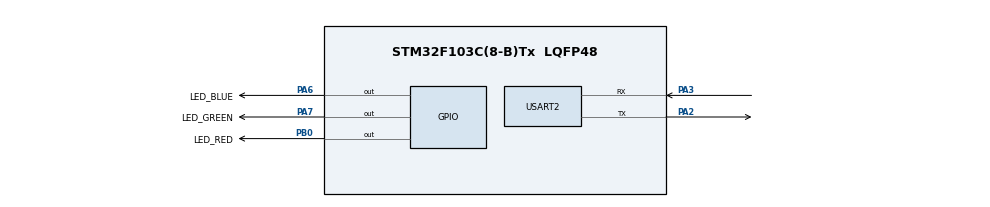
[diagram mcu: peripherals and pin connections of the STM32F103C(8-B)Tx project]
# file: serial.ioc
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Dma.Request0=USART2_TX
Dma.Request1=USART2_RX
Dma.USART2_RX.1.Direction=DMA_PERIPH_TO_MEMORY
Dma.USART2_RX.1.Instance=DMA1_Channel6
Dma.USART2_RX.1.MemDataAlignment=DMA_MDATAALIGN_BYTE
Dma.USART2_RX.1.MemInc=DMA_MINC_ENABLE
Dma.USART2_RX.1.Mode=DMA_NORMAL
Dma.USART2_RX.1.PeriphDataAlignment=DMA_PDATAALIGN_BYTE
Dma.USART2_RX.1.PeriphInc=DMA_PINC_DISABLE
Dma.USART2_RX.1.Priority=DMA_PRIORITY_LOW
Dma.USART2_TX.0.Direction=DMA_MEMORY_TO_PERIPH
Dma.USART2_TX.0.Instance=DMA1_Channel7
Dma.USART2_TX.0.MemDataAlignment=DMA_MDATAALIGN_BYTE
Dma.USART2_TX.0.MemInc=DMA_MINC_ENABLE
Dma.USART2_TX.0.Mode=DMA_NORMAL
Dma.USART2_TX.0.PeriphDataAlignment=DMA_PDATAALIGN_BYTE
Dma.USART2_TX.0.PeriphInc=DMA_PINC_DISABLE
Dma.USART2_TX.0.Priority=DMA_PRIORITY_LOW
Mcu.Family=STM32F1
Mcu.Name=STM32F103C(8-B)Tx
Mcu.Package=LQFP48
NVIC.DMA1_Channel6_IRQn=true\:0\:0\:false\:false\:true\:false\:true\:true
NVIC.DMA1_Channel7_IRQn=true\:0\:0\:false\:false\:true\:false\:true\:true
NVIC.PriorityGroup=NVIC_PRIORITYGROUP_4
NVIC.USART2_IRQn=true\:0\:0\:false\:false\:true\:true\:true\:true
PA13.Mode=Serial_Wire
PA13.Signal=SYS_JTMS-SWDIO
PA14.Mode=Serial_Wire
PA14.Signal=SYS_JTCK-SWCLK
PA2.Mode=Asynchronous
PA2.Signal=USART2_TX
PA3.Mode=Asynchronous
PA3.Signal=USART2_RX
PA6.GPIO_Label=LED_BLUE
PA6.Signal=GPIO_Output
PA7.GPIO_Label=LED_GREEN
PA7.Signal=GPIO_Output
PB0.GPIO_Label=LED_RED
PB0.Signal=GPIO_Output
ProjectManager.HeapSize=0x200
ProjectManager.StackSize=0x400
ProjectManager.TargetToolchain=STM32CubeIDE
RCC.APB1Freq_Value=8000000
RCC.APB2Freq_Value=8000000
USART2.VirtualMode=VM_ASYNC
board=custom

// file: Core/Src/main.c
/* USER CODE BEGIN Header */
/**
  ******************************************************************************
  * @file           : main.c
  * @brief          : Main program body
  ******************************************************************************
  * @attention
  *
  * Copyright (c) 2026 STMicroelectronics.
  * All rights reserved.
  *
  * This software is licensed under terms that can be found in the LICENSE file
  * in the root directory of this software component.
  * If no LICENSE file comes with this software, it is provided AS-IS.
  *
  ******************************************************************************
  */
/* USER CODE END Header */
#include "main.h"

/* USER CODE BEGIN Includes */
#include <string.h>
/* USER CODE END Includes */

UART_HandleTypeDef huart2;
DMA_HandleTypeDef hdma_usart2_tx;
DMA_HandleTypeDef hdma_usart2_rx;

/* USER CODE BEGIN PV */
uint8_t receiveData[2];
//	char message[] = "Hello World";
/* USER CODE END PV */

void SystemClock_Config(void);
static void MX_GPIO_Init(void);
static void MX_DMA_Init(void);
static void MX_USART2_UART_Init(void);

/* USER CODE BEGIN 0 */
void HAL_UART_RxCpltCallback(UART_HandleTypeDef *huart){
	//	HAL_UART_Transmit(&huart2, (uint8_t*)message, strlen(message), 100);
		  //	HAL_Delay(1000);
	//	  	HAL_UART_Receive(&huart2, receiveData, 2, HAL_MAX_DELAY);
	//	  	HAL_UART_Transmit(&huart2, receiveData, 2, 1000);
		  	HAL_UART_Transmit_DMA(&huart2, receiveData, 2);
		  	GPIO_PinState state = GPIO_PIN_SET;
		  	if(receiveData[1] == '0'){
		  		state = GPIO_PIN_RESET;
		  	}
		  	if(receiveData[0] == 'R'){
		  		HAL_GPIO_WritePin(LED_RED_GPIO_Port, LED_RED_Pin, state);
		  	}else if(receiveData[0] == 'G'){
		  		HAL_GPIO_WritePin(LED_GREEN_GPIO_Port, LED_GREEN_Pin, state);
		  	}else if(receiveData[0] == 'B'){
		  		HAL_GPIO_WritePin(LED_BLUE_GPIO_Port, LED_BLUE_Pin, state);
		  	}
		  	HAL_UART_Receive_DMA(&huart2, receiveData, 2);
}
/* USER CODE END 0 */

int main(void)
{

  /* MCU Configuration--------------------------------------------------------*/

  /* Reset of all peripherals, Initializes the Flash interface and the Systick. */
  HAL_Init();

  /* Configure the system clock */
  SystemClock_Config();

  /* Initialize all configured peripherals */
  MX_GPIO_Init();
  MX_DMA_Init();
  MX_USART2_UART_Init();
  /* USER CODE BEGIN 2 */

  HAL_UART_Receive_DMA(&huart2, receiveData, 2);

  /* USER CODE END 2 */

  /* Infinite loop */
  while (1)
  {

  }
}

void SystemClock_Config(void)
{
  RCC_OscInitTypeDef RCC_OscInitStruct = {0};
  RCC_ClkInitTypeDef RCC_ClkInitStruct = {0};

  /** Initializes the RCC Oscillators according to the specified parameters
  * in the RCC_OscInitTypeDef structure.
  */
  RCC_OscInitStruct.OscillatorType = RCC_OSCILLATORTYPE_HSI;
  RCC_OscInitStruct.HSIState = RCC_HSI_ON;
  RCC_OscInitStruct.HSICalibrationValue = RCC_HSICALIBRATION_DEFAULT;
  RCC_OscInitStruct.PLL.PLLState = RCC_PLL_NONE;
  if (HAL_RCC_OscConfig(&RCC_OscInitStruct) != HAL_OK)
  {
    Error_Handler();
  }

  /** Initializes the CPU, AHB and APB buses clocks
  */
  RCC_ClkInitStruct.ClockType = RCC_CLOCKTYPE_HCLK|RCC_CLOCKTYPE_SYSCLK
                              |RCC_CLOCKTYPE_PCLK1|RCC_CLOCKTYPE_PCLK2;
  RCC_ClkInitStruct.SYSCLKSource = RCC_SYSCLKSOURCE_HSI;
  RCC_ClkInitStruct.AHBCLKDivider = RCC_SYSCLK_DIV1;
  RCC_ClkInitStruct.APB1CLKDivider = RCC_HCLK_DIV1;
  RCC_ClkInitStruct.APB2CLKDivider = RCC_HCLK_DIV1;

  if (HAL_RCC_ClockConfig(&RCC_ClkInitStruct, FLASH_LATENCY_0) != HAL_OK)
  {
    Error_Handler();
  }
}

static void MX_USART2_UART_Init(void)
{

  huart2.Instance = USART2;
  huart2.Init.BaudRate = 115200;
  huart2.Init.WordLength = UART_WORDLENGTH_8B;
  huart2.Init.StopBits = UART_STOPBITS_1;
  huart2.Init.Parity = UART_PARITY_NONE;
  huart2.Init.Mode = UART_MODE_TX_RX;
  huart2.Init.HwFlowCtl = UART_HWCONTROL_NONE;
  huart2.Init.OverSampling = UART_OVERSAMPLING_16;
  if (HAL_UART_Init(&huart2) != HAL_OK)
  {
    Error_Handler();
  }

}

static void MX_DMA_Init(void)
{

  /* DMA controller clock enable */
  __HAL_RCC_DMA1_CLK_ENABLE();

  /* DMA interrupt init */
  /* DMA1_Channel6_IRQn interrupt configuration */
  HAL_NVIC_SetPriority(DMA1_Channel6_IRQn, 0, 0);
  HAL_NVIC_EnableIRQ(DMA1_Channel6_IRQn);
  /* DMA1_Channel7_IRQn interrupt configuration */
  HAL_NVIC_SetPriority(DMA1_Channel7_IRQn, 0, 0);
  HAL_NVIC_EnableIRQ(DMA1_Channel7_IRQn);

}

static void MX_GPIO_Init(void)
{
  GPIO_InitTypeDef GPIO_InitStruct = {0};

  /* GPIO Ports Clock Enable */
  __HAL_RCC_GPIOA_CLK_ENABLE();
  __HAL_RCC_GPIOB_CLK_ENABLE();

  /*Configure GPIO pin Output Level */
  HAL_GPIO_WritePin(GPIOA, LED_BLUE_Pin|LED_GREEN_Pin, GPIO_PIN_RESET);

  /*Configure GPIO pin Output Level */
  HAL_GPIO_WritePin(LED_RED_GPIO_Port, LED_RED_Pin, GPIO_PIN_RESET);

  /*Configure GPIO pins : LED_BLUE_Pin LED_GREEN_Pin */
  GPIO_InitStruct.Pin = LED_BLUE_Pin|LED_GREEN_Pin;
  GPIO_InitStruct.Mode = GPIO_MODE_OUTPUT_PP;
  GPIO_InitStruct.Pull = GPIO_NOPULL;
  GPIO_InitStruct.Speed = GPIO_SPEED_FREQ_LOW;
  HAL_GPIO_Init(GPIOA, &GPIO_InitStruct);

  /*Configure GPIO pin : LED_RED_Pin */
  GPIO_InitStruct.Pin = LED_RED_Pin;
  GPIO_InitStruct.Mode = GPIO_MODE_OUTPUT_PP;
  GPIO_InitStruct.Pull = GPIO_NOPULL;
  GPIO_InitStruct.Speed = GPIO_SPEED_FREQ_LOW;
  HAL_GPIO_Init(LED_RED_GPIO_Port, &GPIO_InitStruct);

}

void Error_Handler(void)
{
  __disable_irq();
  while (1)
  {
  }
}
